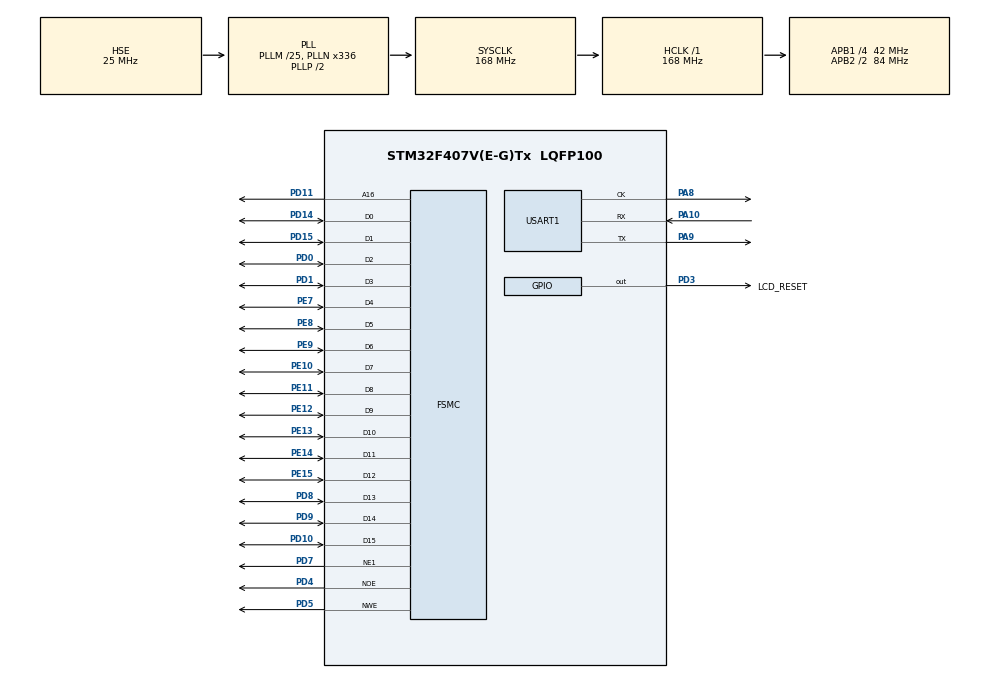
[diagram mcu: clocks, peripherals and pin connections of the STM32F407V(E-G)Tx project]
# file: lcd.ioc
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FSMC.BusTurnAroundDuration1=0
FSMC.DataSetupTime1=15
FSMC.ExtendedBusTurnAroundDuration1=0
FSMC.ExtendedDataSetupTime1=15
FSMC.ExtendedMode1=FSMC_EXTENDED_MODE_ENABLE
Mcu.Family=STM32F4
Mcu.Name=STM32F407V(E-G)Tx
Mcu.Package=LQFP100
NVIC.PriorityGroup=NVIC_PRIORITYGROUP_4
NVIC.TIM6_DAC_IRQn=true\:0\:0\:false\:false\:true\:true\:true
PA10.Mode=Synchronous
PA10.Signal=USART1_RX
PA8.Mode=Synchronous
PA8.Signal=USART1_CK
PA9.Mode=Synchronous
PA9.Signal=USART1_TX
PD0.Mode=16b-d1
PD0.Signal=FSMC_D2
PD1.Mode=16b-d1
PD1.Signal=FSMC_D3
PD10.Mode=16b-d1
PD10.Signal=FSMC_D15
PD11.Mode=A16_1
PD11.Signal=FSMC_A16
PD14.Mode=16b-d1
PD14.Signal=FSMC_D0
PD15.Mode=16b-d1
PD15.Signal=FSMC_D1
PD3.GPIO_Label=LCD_RESET
PD3.Signal=GPIO_Output
PD4.Mode=Lcd1
PD4.Signal=FSMC_NOE
PD5.Mode=Lcd1
PD5.Signal=FSMC_NWE
PD7.Mode=NorPsramChipSelect1_1
PD7.Signal=FSMC_NE1
PD8.Mode=16b-d1
PD8.Signal=FSMC_D13
PD9.Mode=16b-d1
PD9.Signal=FSMC_D14
PE10.Mode=16b-d1
PE10.Signal=FSMC_D7
PE11.Mode=16b-d1
PE11.Signal=FSMC_D8
PE12.Mode=16b-d1
PE12.Signal=FSMC_D9
PE13.Mode=16b-d1
PE13.Signal=FSMC_D10
PE14.Mode=16b-d1
PE14.Signal=FSMC_D11
PE15.Mode=16b-d1
PE15.Signal=FSMC_D12
PE7.Mode=16b-d1
PE7.Signal=FSMC_D4
PE8.Mode=16b-d1
PE8.Signal=FSMC_D5
PE9.Mode=16b-d1
PE9.Signal=FSMC_D6
PH0-OSC_IN.Mode=HSE-External-Oscillator
PH0-OSC_IN.Signal=RCC_OSC_IN
PH1-OSC_OUT.Mode=HSE-External-Oscillator
PH1-OSC_OUT.Signal=RCC_OSC_OUT
ProjectManager.HeapSize=0x200
ProjectManager.StackSize=0x400
ProjectManager.TargetToolchain=MDK-ARM V5.27
RCC.48MHZClocksFreq_Value=84000000
RCC.AHBFreq_Value=168000000
RCC.APB1CLKDivider=RCC_HCLK_DIV4
RCC.APB1Freq_Value=42000000
RCC.APB1TimFreq_Value=84000000
RCC.APB2CLKDivider=RCC_HCLK_DIV2
RCC.APB2Freq_Value=84000000
RCC.APB2TimFreq_Value=168000000
RCC.CortexFreq_Value=168000000
RCC.HCLKFreq_Value=168000000
RCC.HSE_VALUE=25000000
RCC.HSI_VALUE=16000000
RCC.LSE_VALUE=32768
RCC.PLLM=25
RCC.PLLN=336
RCC.PLLSourceVirtual=RCC_PLLSOURCE_HSE
RCC.SYSCLKFreq_VALUE=168000000
RCC.SYSCLKSource=RCC_SYSCLKSOURCE_PLLCLK
RCC.VCOOutputFreq_Value=336000000
TIM6.Period=10000
TIM6.Prescaler=16800
USART1.VirtualMode=VM_SYNC
VP_TIM6_VS_ClockSourceINT.Mode=Enable_Timer
board=custom

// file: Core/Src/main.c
/* USER CODE BEGIN Header */
/**
  ******************************************************************************
  * @file           : main.c
  * @brief          : Main program body
  ******************************************************************************
  * @attention
  *
  * <h2><center>&copy; Copyright (c) 2021 STMicroelectronics.
  * All rights reserved.</center></h2>
  *
  * This software component is licensed by ST under BSD 3-Clause license,
  * the "License"; You may not use this file except in compliance with the
  * License. You may obtain a copy of the License at:
  *                        opensource.org/licenses/BSD-3-Clause
  *
  ******************************************************************************
  */
/* USER CODE END Header */
#include "main.h"
#include "tim.h"
#include "usart.h"
#include "gpio.h"
#include "fsmc.h"

/* USER CODE BEGIN Includes */
#include "delay.h"
#include "dev_lcd.h"
#include "lcd.h"

/* USER CODE END Includes */

void SystemClock_Config(void);
/* USER CODE BEGIN PFP */
volatile  int fps_1s = 0;
/* USER CODE END PFP */

/* USER CODE BEGIN 0 */

void HAL_TIM_PeriodElapsedCallback(TIM_HandleTypeDef *htim)
{
  if(htim==(&htim6))
  {
		fps_1s = 1;
  }
}

/* USER CODE END 0 */

int main(void)
{

  /* MCU Configuration--------------------------------------------------------*/

  /* Reset of all peripherals, Initializes the Flash interface and the Systick. */
  HAL_Init();

  /* Configure the system clock */
  SystemClock_Config();

  /* Initialize all configured peripherals */
  MX_GPIO_Init();
  MX_FSMC_Init();
  MX_USART1_Init();
  MX_TIM6_Init();
  /* USER CODE BEGIN 2 */
	delay_init(168);

	HAL_TIM_Base_Start_IT(&htim6);

	HAL_GPIO_WritePin(LCD_RESET_GPIO_Port,LCD_RESET_Pin,1);
	delay_ms(50);
	HAL_GPIO_WritePin(LCD_RESET_GPIO_Port,LCD_RESET_Pin,0);
	delay_ms(50);
	HAL_GPIO_WritePin(LCD_RESET_GPIO_Port,LCD_RESET_Pin,1);
	delay_ms(50);

	printf("start\r\n");

	dev_lcd_init();

	dev_lcd_clear(RED);
	//	delay_ms(500);

//		for(int j = 0;j<480;j++){
//			dev_lcd_draw_point(320,j,GREEN);
//		}

	dev_lcd_show_string(50,100,100,24,24,"hello",GREEN);
	dev_lcd_draw_circle(250,100,50,GREEN);
	dev_lcd_draw_rectangle(50,100,200,200,GREEN);
	dev_lcd_draw_line(50,100,200,200,WHITE);
	dev_lcd_fast_fill(50,50,300,100,BLUE);
	delay_ms(500);

	dev_lcd_test();

	//lcd_init1();
	//lcd_cofig();
//	while(1)
//	{
//		LCD_Clear(0x001F);

//		LCD_Clear(0x07E0);
//
//	}

//	while(1)
//	{
//		dev_lcd_clear(0xF800);
//		delay_ms(500);
//		dev_lcd_clear(GREEN);
//		delay_ms(500);
//	}
//

//	for(int i = 0;i<50;i++){
//		dev_lcd_draw_point(50,i,WHITE);
//		dev_lcd_draw_point(51,i,WHITE);
//		dev_lcd_draw_point(52,i,WHITE);
//	}

//	int fps_all = 0;
//	while(1)
//	{
//		if(fps_1s == 1){
//			printf("fps:%d\r\n",fps_all*2);
//			fps_all = 1;
//			fps_1s = 0;
//		}
//		fps_all++;
//		dev_lcd_clear(0xF800);
//		delay_ms(500);
//		dev_lcd_clear(GREEN);
//		delay_ms(500);
	//}
  /* USER CODE END 2 */

  /* Infinite loop */
  while (1)
  {

  }
}

void SystemClock_Config(void)
{
  RCC_OscInitTypeDef RCC_OscInitStruct = {0};
  RCC_ClkInitTypeDef RCC_ClkInitStruct = {0};

  /** Configure the main internal regulator output voltage
  */
  __HAL_RCC_PWR_CLK_ENABLE();
  __HAL_PWR_VOLTAGESCALING_CONFIG(PWR_REGULATOR_VOLTAGE_SCALE1);
  /** Initializes the RCC Oscillators according to the specified parameters
  * in the RCC_OscInitTypeDef structure.
  */
  RCC_OscInitStruct.OscillatorType = RCC_OSCILLATORTYPE_HSE;
  RCC_OscInitStruct.HSEState = RCC_HSE_ON;
  RCC_OscInitStruct.PLL.PLLState = RCC_PLL_ON;
  RCC_OscInitStruct.PLL.PLLSource = RCC_PLLSOURCE_HSE;
  RCC_OscInitStruct.PLL.PLLM = 25;
  RCC_OscInitStruct.PLL.PLLN = 336;
  RCC_OscInitStruct.PLL.PLLP = RCC_PLLP_DIV2;
  RCC_OscInitStruct.PLL.PLLQ = 4;
  if (HAL_RCC_OscConfig(&RCC_OscInitStruct) != HAL_OK)
  {
    Error_Handler();
  }
  /** Initializes the CPU, AHB and APB buses clocks
  */
  RCC_ClkInitStruct.ClockType = RCC_CLOCKTYPE_HCLK|RCC_CLOCKTYPE_SYSCLK
                              |RCC_CLOCKTYPE_PCLK1|RCC_CLOCKTYPE_PCLK2;
  RCC_ClkInitStruct.SYSCLKSource = RCC_SYSCLKSOURCE_PLLCLK;
  RCC_ClkInitStruct.AHBCLKDivider = RCC_SYSCLK_DIV1;
  RCC_ClkInitStruct.APB1CLKDivider = RCC_HCLK_DIV4;
  RCC_ClkInitStruct.APB2CLKDivider = RCC_HCLK_DIV2;

  if (HAL_RCC_ClockConfig(&RCC_ClkInitStruct, FLASH_LATENCY_5) != HAL_OK)
  {
    Error_Handler();
  }
}

void Error_Handler(void)
{
}

/************************ (C) COPYRIGHT STMicroelectronics *****END OF FILE****/
